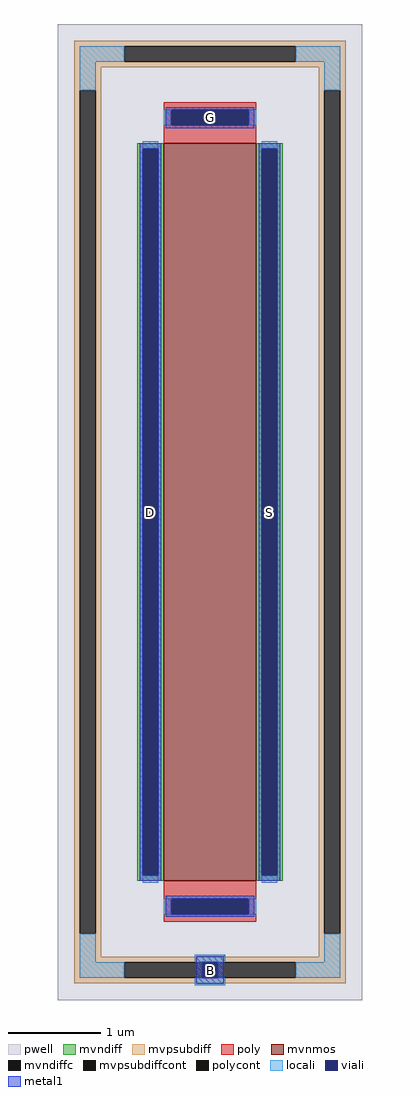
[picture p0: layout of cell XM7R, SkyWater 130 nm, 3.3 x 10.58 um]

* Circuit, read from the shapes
.subckt XM7R B D S G
XM1 S G D B sky130_fd_pr__nfet_g5v0d10v5 w=8 l=1
.ends

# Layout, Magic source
magic
tech sky130A
magscale 1 2
<< pwell >>
rect -330 -1058 330 1058
<< mvnmos >>
rect -100 -800 100 800
<< mvndiff >>
rect -158 788 -100 800
rect -158 -788 -146 788
rect -112 -788 -100 788
rect -158 -800 -100 -788
rect 100 788 158 800
rect 100 -788 112 788
rect 146 -788 158 788
rect 100 -800 158 -788
<< mvndiffc >>
rect -146 -788 -112 788
rect 112 -788 146 788
<< mvpsubdiff >>
rect -294 1010 294 1022
rect -294 976 -186 1010
rect 186 976 294 1010
rect -294 964 294 976
rect -294 914 -236 964
rect -294 -914 -282 914
rect -248 -914 -236 914
rect 236 914 294 964
rect -294 -964 -236 -914
rect 236 -914 248 914
rect 282 -914 294 914
rect 236 -964 294 -914
rect -294 -976 294 -964
rect -294 -1010 -186 -976
rect 186 -1010 294 -976
rect -294 -1022 294 -1010
<< mvpsubdiffcont >>
rect -186 976 186 1010
rect -282 -914 -248 914
rect 248 -914 282 914
rect -186 -1010 186 -976
<< poly >>
rect -100 872 100 888
rect -100 838 -84 872
rect 84 838 100 872
rect -100 800 100 838
rect -100 -838 100 -800
rect -100 -872 -84 -838
rect 84 -872 100 -838
rect -100 -888 100 -872
<< polycont >>
rect -84 838 84 872
rect -84 -872 84 -838
<< locali >>
rect -282 976 -186 1010
rect 186 976 282 1010
rect -282 914 -248 976
rect 248 914 282 976
rect -100 838 -84 872
rect 84 838 100 872
rect -146 788 -112 804
rect -146 -804 -112 -788
rect 112 788 146 804
rect 112 -804 146 -788
rect -100 -872 -84 -838
rect 84 -872 100 -838
rect -282 -976 -248 -914
rect -33 -976 33 -960
rect 248 -976 282 -914
rect -282 -1010 -186 -976
rect 186 -1010 282 -976
rect -33 -1026 33 -1010
<< viali >>
rect -84 838 84 872
rect -146 -788 -112 788
rect 112 -788 146 788
rect -84 -872 84 -838
rect -17 -1010 17 -976
<< metal1 >>
rect -96 872 96 878
rect -96 838 -84 872
rect 84 838 96 872
rect -96 832 96 838
rect -152 788 -106 800
rect -152 -788 -146 788
rect -112 -788 -106 788
rect -152 -800 -106 -788
rect 106 788 152 800
rect 106 -788 112 788
rect 146 -788 152 788
rect 106 -800 152 -788
rect -96 -838 96 -832
rect -96 -872 -84 -838
rect 84 -872 96 -838
rect -96 -878 96 -872
rect -30 -976 30 -963
rect -30 -1010 -17 -976
rect 17 -1010 30 -976
rect -30 -1023 30 -1010
<< labels >>
rlabel mvpsubdiffcont 0 -993 0 -993 0 B
port 4 nsew
rlabel mvndiffc -129 0 -129 0 0 D
port 5 nsew
rlabel mvndiffc 129 0 129 0 0 S
port 6 nsew
rlabel polycont 0 855 0 855 0 G
port 7 nsew
<< properties >>
string FIXED_BBOX -265 -993 265 993
<< end >>
